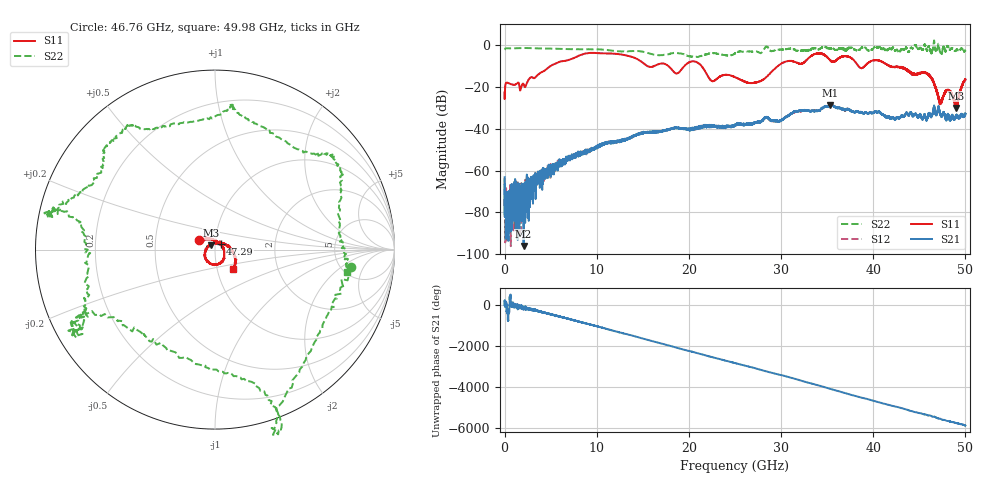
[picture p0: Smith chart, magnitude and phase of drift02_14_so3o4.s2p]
!Created with skrf (http://scikit-rf.org).
# Hz S RI R 50.0
!freq ReS11 ImS11 ReS21 ImS21 ReS12 ImS12 ReS22 ImS22
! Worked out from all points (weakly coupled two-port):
!   10001 points, 300 kHz to 50 GHz, reference 50 ohm
!   highest |S21| = -28.57 dB at 35.32 GHz (marker M1); lowest = -96.0 dB at 2.06 GHz (marker M2)
!   lowest |S11| = -30.0 dB at 48.97 GHz (marker M3), VSWR 1.07, Z = 47.8 + j2.19 ohm
!   |S11| at or under -10 dB: start of sweep to 4.958 GHz; 21.38 GHz to 29.63 GHz (8.255 GHz wide, 32.4 % of centre); 41.87 GHz to end of sweep (the widest 3 of 9)
!   |S22| runs from -5.7 to 2.3 dB; largest |S21 - S12| = 0.0037
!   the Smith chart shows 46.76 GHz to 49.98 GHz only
!   S11 on the Smith chart (normalised r, x): 46.76 GHz: 0.84, +0.09; 47.29 GHz: 1.06, +0.06; 49.98 GHz: 1.20, -0.26
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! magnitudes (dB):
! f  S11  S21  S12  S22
! 300 kHz  -22.4  -63.1  -63.6  -2.1
! 290.3 MHz  -17.9  -74.3  -76.3  -1.4
! 2.06 GHz  -18.6  -96.0  -75.6  -1.3
! 3.65 GHz  -14.0  -63.3  -63.0  -1.5
! 8.335 GHz  -4.5  -51.8  -51.6  -1.9
! 16.67 GHz  -9.1  -41.5  -41.5  -4.7
! 18.7 GHz  -13.5  -39.5  -39.4  -3.7
! 20.59 GHz  -7.7  -40.3  -40.0  -5.7
! 22.5 GHz  -17.1  -38.8  -38.7  -3.7
! 25 GHz  -15.2  -38.0  -38.4  -3.9
! 27.47 GHz  -17.6  -36.8  -36.6  -3.2
! 30.22 GHz  -8.3  -35.5  -35.2  -2.1
! 33.34 GHz  -5.0  -31.5  -31.3  -1.6
! 35.32 GHz  -7.2  -28.6  -28.7  -1.4
! 41.67 GHz  -9.6  -34.1  -34.3  -1.8
! 45.76 GHz  -13.3  -35.5  -35.7  -1.7
! 46.76 GHz  -19.8  -32.4  -33.1  -2.4
! 47.29 GHz  -27.3  -33.5  -33.6  -3.5
! 48.14 GHz  -21.6  -33.3  -33.4  -0.8
! 48.97 GHz  -30.0  -33.4  -34.4  -2.5
! 49.98 GHz  -16.5  -32.5  -33.4  -2.6
! 50 GHz  -16.4  -32.8  -33.0  -2.6
